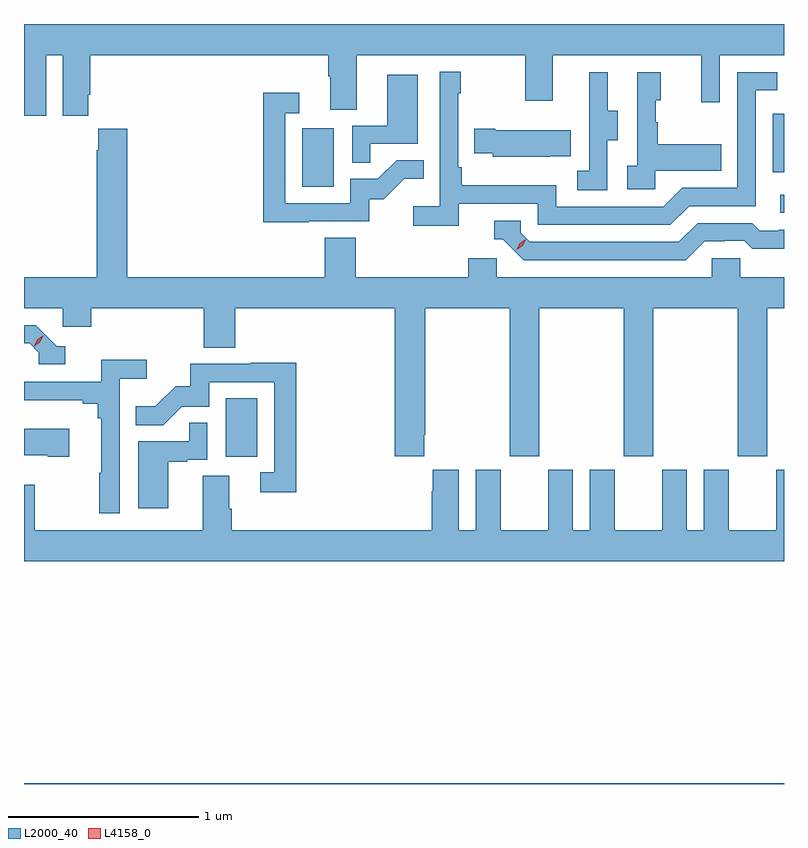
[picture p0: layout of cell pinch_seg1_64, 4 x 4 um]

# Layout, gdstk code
import gdstk
lib = gdstk.Library(unit=1e-6, precision=1e-09)
def R(c, l, rs):  # rectangles x0, y0, x1, y1
    for r in rs: c.add(gdstk.rectangle(r[:2], r[2:], *l))
def P(c, l, *ps):  # polygons
    for p in ps: c.add(gdstk.Polygon(p, *l))
L2000_40 = (2000, 40)
L4158_0 = (4158, 0)

pinch_seg1_64 = lib.new_cell('pinch_seg1_64')
R(pinch_seg1_64, L2000_40, [(1034.539,565.212,1038.539,565.216), (1035.602,566.934,1035.766,567.241), (1038.519,568.218,1038.539,568.314), (1036.004,568.356,1036.168,568.663), (1038.48,568.431,1038.539,568.74)])
P(pinch_seg1_64, L2000_40, [(1034.656,569.048),(1034.744,569.048),(1034.744,568.728),(1034.878,568.728),(1034.878,568.84),(1034.888,568.84),(1034.888,569.048),(1036.139,569.048),(1036.139,568.936),(1036.151,568.936),(1036.151,568.762),(1036.291,568.762),(1036.291,569.048),(1037.176,569.048),(1037.176,568.809),(1037.323,568.809),(1037.323,569.048),(1038.103,569.048),(1038.103,568.8),(1038.201,568.8),(1038.201,569.048),(1038.539,569.048),(1038.539,569.212),(1034.539,569.212),(1034.539,568.728),(1034.656,568.728)],
  [(1036.826,568.266),(1037.244,568.266),(1037.244,568.155),(1037.941,568.155),(1038.04,568.254),(1038.39,568.254),(1038.39,568.863),(1038.503,568.863),(1038.503,568.959),(1038.294,568.959),(1038.294,568.35),(1038.003,568.35),(1037.904,568.251),(1037.34,568.251),(1037.34,568.363),(1036.844,568.363),(1036.844,568.459),(1036.824,568.459),(1036.824,568.847),(1036.837,568.847),(1036.837,568.96),(1036.728,568.96),(1036.728,568.252),(1036.587,568.252),(1036.587,568.15),(1036.826,568.15)],
  [(1037.862,568.439),(1038.209,568.439),(1038.209,568.579),(1037.875,568.579),(1037.875,568.694),(1037.865,568.694),(1037.865,568.812),(1037.89,568.812),(1037.89,568.957),(1037.766,568.957),(1037.766,568.466),(1037.715,568.466),(1037.715,568.341),(1037.862,568.341)],
  [(1037.61,568.6),(1037.665,568.6),(1037.665,568.755),(1037.611,568.755),(1037.611,568.957),(1037.513,568.957),(1037.513,568.743),(1037.514,568.743),(1037.514,568.439),(1037.451,568.439),(1037.451,568.336),(1037.61,568.336)],
  [(1036.361,568.581),(1036.612,568.581),(1036.612,568.945),(1036.451,568.945),(1036.451,568.677),(1036.266,568.677),(1036.266,568.483),(1036.361,568.483)],
  [(1036.037,568.173),(1036.356,568.173),(1036.356,568.29),(1036.432,568.29),(1036.539,568.397),(1036.643,568.397),(1036.643,568.496),(1036.5,568.496),(1036.402,568.398),(1036.257,568.398),(1036.257,568.269),(1035.915,568.269),(1035.915,568.743),(1035.988,568.743),(1035.988,568.849),(1035.799,568.849),(1035.799,568.168),(1036.037,568.168)],
  [(1037.309,568.517),(1037.417,568.517),(1037.417,568.654),(1037.02,568.654),(1037.02,568.662),(1036.909,568.662),(1036.909,568.532),(1037.007,568.532),(1037.007,568.514),(1037.309,568.514)],
  [(1036.645,567.049),(1036.65,567.049),(1036.65,567.716),(1037.095,567.716),(1037.095,566.937),(1037.25,566.937),(1037.25,567.716),(1037.695,567.716),(1037.695,566.937),(1037.85,566.937),(1037.85,567.716),(1038.295,567.716),(1038.295,566.937),(1038.45,566.937),(1038.45,567.716),(1038.539,567.716),(1038.539,567.88),(1038.309,567.88),(1038.309,567.978),(1038.159,567.978),(1038.159,567.88),(1037.028,567.88),(1037.028,567.978),(1036.877,567.978),(1036.877,567.88),(1036.286,567.88),(1036.286,568.088),(1036.121,568.088),(1036.121,567.88),(1035.083,567.88),(1035.083,568.66),(1034.929,568.66),(1034.929,568.547),(1034.923,568.547),(1034.923,567.88),(1034.539,567.88),(1034.539,567.716),(1034.742,567.716),(1034.742,567.618),(1034.894,567.618),(1034.894,567.716),(1035.485,567.716),(1035.485,567.508),(1035.65,567.508),(1035.65,567.716),(1036.49,567.716),(1036.49,566.937),(1036.645,566.937)],
  [(1038.121,568.068),(1038.228,568.068),(1038.228,568.071),(1038.331,568.071),(1038.373,568.029),(1038.539,568.029),(1038.539,568.128),(1038.511,568.128),(1038.511,568.125),(1038.412,568.125),(1038.373,568.164),(1038.084,568.164),(1037.985,568.065),(1037.202,568.065),(1037.154,568.113),(1037.154,568.176),(1037.015,568.176),(1037.015,568.08),(1037.058,568.08),(1037.169,567.969),(1038.022,567.969)],
  [(1034.755,567.516),(1034.712,567.516),(1034.601,567.627),(1034.539,567.627),(1034.539,567.531),(1034.568,567.531),(1034.616,567.483),(1034.616,567.42),(1034.755,567.42)],
  [(1035.042,567.344),(1035.184,567.344),(1035.184,567.446),(1034.945,567.446),(1034.945,567.33),(1034.539,567.33),(1034.539,567.233),(1034.849,567.233),(1034.849,567.214),(1034.926,567.214),(1034.926,567.137),(1034.945,567.137),(1034.945,566.849),(1034.934,566.849),(1034.934,566.637),(1035.042,566.637)],
  [(1035.971,567.428),(1035.733,567.428),(1035.733,567.423),(1035.415,567.423),(1035.415,567.306),(1035.338,567.306),(1035.231,567.199),(1035.127,567.199),(1035.127,567.1),(1035.271,567.1),(1035.369,567.198),(1035.513,567.198),(1035.513,567.327),(1035.855,567.327),(1035.855,566.853),(1035.783,566.853),(1035.783,566.748),(1035.971,566.748)],
  [(1035.298,566.907),(1035.398,566.907),(1035.398,566.919),(1035.504,566.919),(1035.504,567.113),(1035.409,567.113),(1035.409,567.015),(1035.14,567.015),(1035.14,566.664),(1035.298,566.664)],
  [(1034.776,567.082),(1034.539,567.082),(1034.539,566.942),(1034.663,566.942),(1034.663,566.935),(1034.776,566.935)],
  [(1038.539,566.866),(1038.497,566.866),(1038.497,566.548),(1038.247,566.548),(1038.247,566.866),(1038.116,566.866),(1038.116,566.548),(1038.028,566.548),(1038.028,566.866),(1037.897,566.866),(1037.897,566.548),(1037.647,566.548),(1037.647,566.866),(1037.516,566.866),(1037.516,566.548),(1037.428,566.548),(1037.428,566.866),(1037.297,566.866),(1037.297,566.548),(1037.047,566.548),(1037.047,566.866),(1036.916,566.866),(1036.916,566.548),(1036.828,566.548),(1036.828,566.866),(1036.691,566.866),(1036.691,566.753),(1036.685,566.753),(1036.685,566.548),(1035.632,566.548),(1035.632,566.66),(1035.619,566.66),(1035.619,566.834),(1035.479,566.834),(1035.479,566.548),(1034.595,566.548),(1034.595,566.788),(1034.539,566.788),(1034.539,566.384),(1038.539,566.384)])
P(pinch_seg1_64, L4158_0, [(1034.592,567.517),(1034.592,567.517),(1034.608,567.55),(1034.638,567.57),(1034.639,567.57),(1034.639,567.57),(1034.623,567.537),(1034.592,567.517)],
  [(1037.133,568.025),(1037.133,568.025),(1037.148,568.058),(1037.179,568.078),(1037.179,568.078),(1037.179,568.078),(1037.163,568.045),(1037.133,568.025)])

lib.write_gds('pinch_seg1_64.gds')
